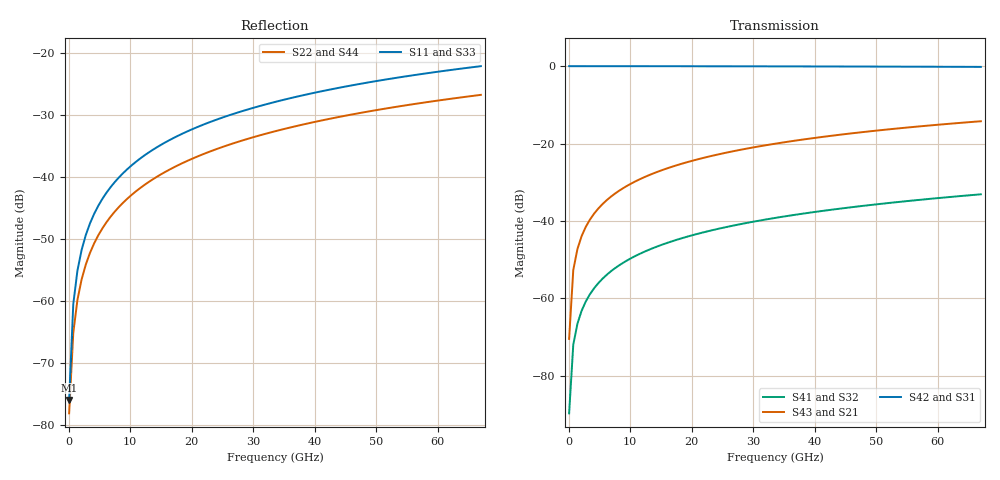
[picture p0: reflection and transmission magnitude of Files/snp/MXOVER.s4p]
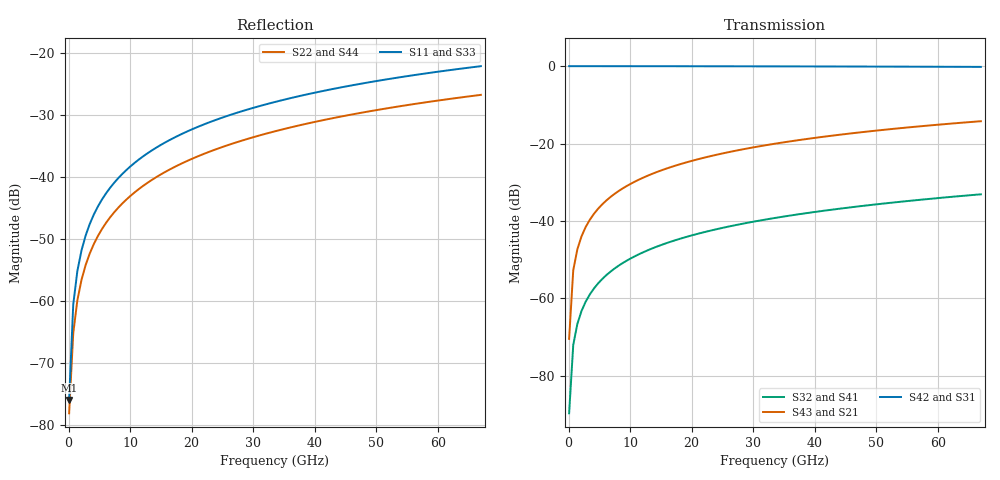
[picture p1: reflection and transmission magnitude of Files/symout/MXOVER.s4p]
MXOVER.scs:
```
simulator lang=local
global 0
NPORT0 1 0 2 0 3 0 4 0 nport file="E:\Saves\pycharm\HowToElementBuilder\Code\Files\snp\MXOVER.s4p"
PORT0 1 0 port r=50 num=1 type=sine rptstart=1 rpttimes=0
PORT1 2 0 port r=50 num=2 type=sine rptstart=1 rpttimes=0
PORT2 3 0 port r=50 num=3 type=sine rptstart=1 rpttimes=0
PORT3 4 0 port r=50 num=4 type=sine rptstart=1 rpttimes=0
SPSweep sp start=100000000 stop=67000000000 step=669000000.0 file="E:\Saves\pycharm\HowToElementBuilder\Code\Files\symout\MXOVER.s4p"
DEFAULT_OPTIONS options tnom=27 temp=27  acout=0 fast_spice=0 reltol=1.000000e-003 rawfmt=nutascii
```
Files/snp/MXOVER.s4p:
! Created with skrf (http://scikit-rf.org).
# Hz S RI R 50.0
!freq ReS11 ImS11 ReS12 ImS12 ReS13 ImS13
! ReS14 ImS14
! ReS21 ImS21 ReS22 ImS22 ReS23 ImS23
! ReS24 ImS24
! ReS31 ImS31 ReS32 ImS32 ReS33 ImS33
! ReS34 ImS34
! ReS41 ImS41 ReS42 ImS42 ReS43 ImS43
! ReS44 ImS44
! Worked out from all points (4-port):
!   100 points, 100 MHz to 67 GHz, reference 50 ohm
!   strongest paths, dB at 100 MHz, 16.99 GHz, 33.89 GHz, 50.78 GHz, 67 GHz:
!     S42: 0.0, 0.0, -0.1, -0.1, -0.2
!     S31: 0.0, 0.0, -0.1, -0.1, -0.2
!     S43: -70.5, -25.9, -20.0, -16.5, -14.2
!     S21: -70.5, -25.9, -20.0, -16.5, -14.2
!     S41: -89.7, -45.2, -39.1, -35.6, -33.1
!     S32: -89.8, -45.2, -39.2, -35.6, -33.2
!   lowest |S11| = -76.0 dB at 100 MHz (marker M1), VSWR 1.00, Z = 50 - j0.0121 ohm
!   |S11| at or under -10 dB: start of sweep to end of sweep
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1e8  0.000104 -0.000121  4.76e-06 0.000299  0.9999 -0.000539  -3.86e-06 -3.22e-05
     4.76e-06 0.000299  0.000103 6.98e-05  -3.86e-06 -3.25e-05  0.9999 -0.000377
     0.9999 -0.000539  -3.86e-06 -3.22e-05  0.000104 -0.000121  4.76e-06 0.000299
     -3.86e-06 -3.25e-05  0.9999 -0.000377  4.76e-06 0.000299  0.000103 6.98e-05
1.023636e10  -0.000435 -0.0124  0.00149 0.0306  0.9976 -0.0551  -6.06e-05 -0.0033
             0.00149 0.0305  0.000577 0.00713  -6.21e-05 -0.00332  0.9985 -0.0385
             0.9976 -0.0551  -6.06e-05 -0.0033  -0.000435 -0.0124  0.00149 0.0306
             -6.21e-05 -0.00332  0.9985 -0.0385  0.00149 0.0305  0.000577 0.00713
6.7e10  -0.0231 -0.0746  0.0578 0.1856  0.9149 -0.3407  -0.0032 -0.0217
        0.0578 0.1854  0.0158 0.0431  -0.00325 -0.0219  0.9486 -0.2407
        0.9149 -0.3407  -0.0032 -0.0217  -0.0231 -0.0746  0.0578 0.1856
        -0.00325 -0.0219  0.9486 -0.2407  0.0578 0.1854  0.0158 0.0431
Files/symout/MXOVER.s4p:
! Touchstone Ver. 1.0
! Number of ports is 4
# Hz  S RI  R  50
! SCATTERING PARAMETERS  :
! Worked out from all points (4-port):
!   101 points, 100 MHz to 67 GHz, reference 50 ohm
!   strongest paths, dB at 100 MHz, 16.82 GHz, 33.55 GHz, 50.27 GHz, 67 GHz:
!     S42: 0.0, 0.0, -0.1, -0.1, -0.2
!     S31: 0.0, 0.0, -0.1, -0.1, -0.2
!     S43: -70.5, -26.0, -20.0, -16.6, -14.2
!     S21: -70.5, -26.0, -20.0, -16.6, -14.2
!     S32: -89.7, -45.3, -39.2, -35.7, -33.1
!     S41: -89.8, -45.3, -39.3, -35.7, -33.2
!   lowest |S11| = -76.0 dB at 100 MHz (marker M1), VSWR 1.00, Z = 50 - j0.0121 ohm
!   |S11| at or under -10 dB: start of sweep to end of sweep
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1e8  0.000104 -0.000121  4.76e-06 0.000299  0.9999 -0.000539  -3.86e-06 -3.25e-05
     4.76e-06 0.000299  0.000103 6.98e-05  -3.86e-06 -3.22e-05  0.9999 -0.000377
     0.9999 -0.000539  -3.86e-06 -3.25e-05  0.000104 -0.000121  4.76e-06 0.000299
     -3.86e-06 -3.22e-05  0.9999 -0.000377  4.76e-06 0.000299  0.000103 6.98e-05
1.0135e10  -0.000424 -0.0122  0.00146 0.0302  0.9976 -0.0545  -6.09e-05 -0.00329
           0.00146 0.0303  0.000569 0.00706  -5.94e-05 -0.00326  0.9985 -0.0382
           0.9976 -0.0545  -6.09e-05 -0.00329  -0.000424 -0.0122  0.00146 0.0302
           -5.94e-05 -0.00326  0.9985 -0.0382  0.00146 0.0303  0.000569 0.00706
6.7e10  -0.0231 -0.0746  0.0578 0.1854  0.9149 -0.3407  -0.00325 -0.0219
        0.0578 0.1856  0.0158 0.0431  -0.0032 -0.0217  0.9486 -0.2407
        0.9149 -0.3407  -0.00325 -0.0219  -0.0231 -0.0746  0.0578 0.1854
        -0.0032 -0.0217  0.9486 -0.2407  0.0578 0.1856  0.0158 0.0431
